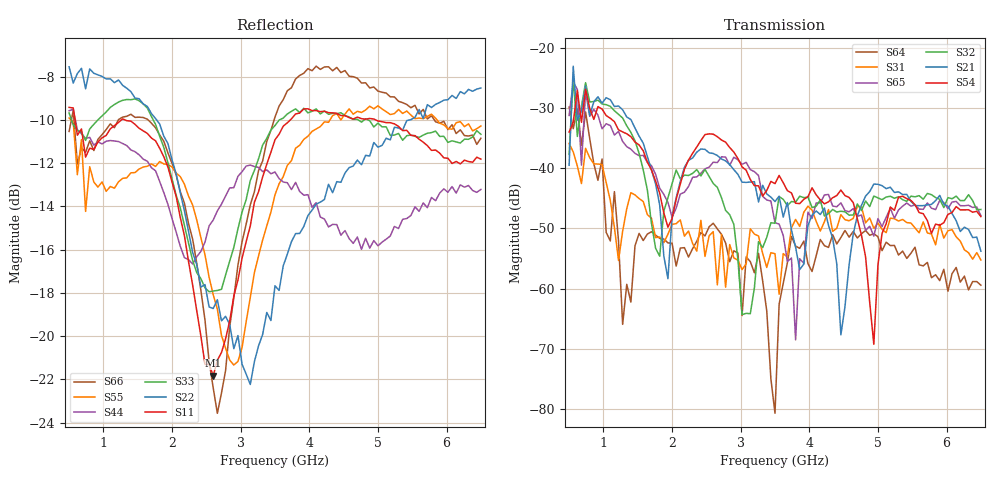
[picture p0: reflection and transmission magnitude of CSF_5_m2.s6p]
!Keysight Technologies,M9804A,MY58100912,A.14.10.03
!Date: Thursday, April 27, 2023 10:28:33
!Correction: S11(C  6-Port  )
!S12(C  6-Port  )
!S13(C  6-Port  )
!S14(C  6-Port  )
!S15(C  6-Port  )
!S16(C  6-Port  )
!S21(C  6-Port  )
!S22(C  6-Port  )
!S23(C  6-Port  )
!S24(C  6-Port  )
!S25(C  6-Port  )
!S26(C  6-Port  )
!S31(C  6-Port  )
!S32(C  6-Port  )
!S33(C  6-Port  )
!S34(C  6-Port  )
!S35(C  6-Port  )
!S36(C  6-Port  )
!S41(C  6-Port  )
!S42(C  6-Port  )
!S43(C  6-Port  )
!S44(C  6-Port  )
!S45(C  6-Port  )
!S46(C  6-Port  )
!S51(C  6-Port  )
!S52(C  6-Port  )
!S53(C  6-Port  )
!S54(C  6-Port  )
!S55(C  6-Port  )
!S56(C  6-Port  )
!S61(C  6-Port  )
!S62(C  6-Port  )
!S63(C  6-Port  )
!S64(C  6-Port  )
!S65(C  6-Port  )
!S66(C  6-Port  )
!S6P File: Measurement: :
# Hz S  RI  R 50
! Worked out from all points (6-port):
!   101 points, 500 MHz to 6.5 GHz, reference 50 ohm
!   strongest paths, dB at 500 MHz, 2 GHz, 3.5 GHz, 5 GHz, 6.5 GHz:
!     S54: -34.0, -48.4, -42.6, -56.0, -48.0
!     S21: -39.5, -48.0, -45.5, -42.7, -53.8
!     S32: -37.7, -42.6, -49.2, -44.9, -46.9
!     S65: -31.3, -48.1, -49.1, -48.4, -47.9
!     S31: -35.9, -49.3, -54.2, -49.1, -55.2
!     S64: -29.9, -52.5, -80.7, -51.4, -59.4
!   lowest |S11| = -21.8 dB at 2.6 GHz (marker M1), VSWR 1.18, Z = 42.8 + j1.99 ohm
!   |S11| at or under -10 dB: 586.2 MHz to 1.263 GHz (676.5 MHz wide, 73.2 % of centre); 1.313 GHz to 3.723 GHz (2.41 GHz wide, 95.7 % of centre); 4.967 GHz to end of sweep
